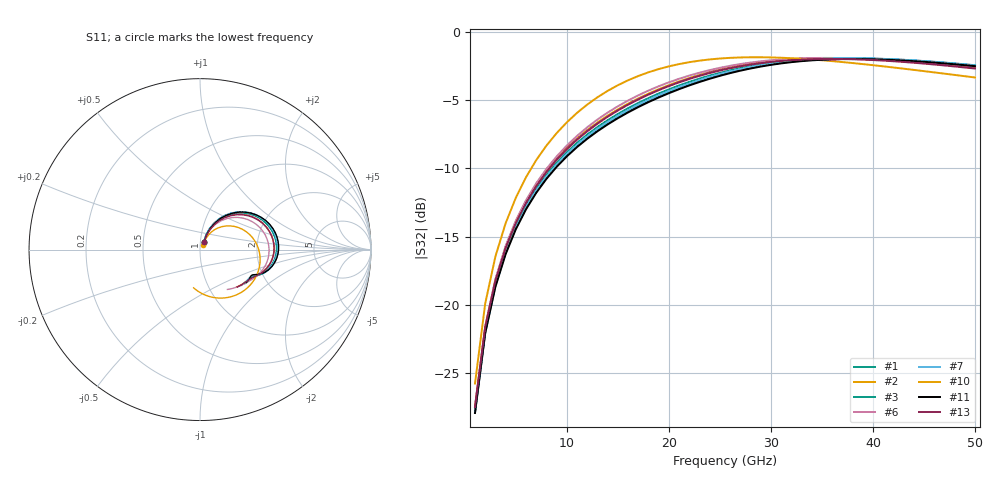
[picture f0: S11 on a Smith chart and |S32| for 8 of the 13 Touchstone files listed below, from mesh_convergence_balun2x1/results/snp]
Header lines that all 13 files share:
! Created with skrf 2.2.0 (http://scikit-rf.org).
# GHz S DB R 50.0
! Port[1] = P1
! Port[2] = P2
! Port[3] = P3
! Port[4] = P4
!freq dBS11 angS11 dBS12 angS12 dBS13 angS13
! dBS14 angS14
! dBS21 angS21 dBS22 angS22 dBS23 angS23
! dBS24 angS24
! dBS31 angS31 dBS32 angS32 dBS33 angS33
! dBS34 angS34
! dBS41 angS41 dBS42 angS42 dBS43 angS43
! dBS44 angS44
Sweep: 1 GHz to 50 GHz
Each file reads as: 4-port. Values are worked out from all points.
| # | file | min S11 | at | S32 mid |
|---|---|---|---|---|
| 1 | balun2x1_amr2_final.s4p | -26.0 dB | 1 GHz | -3.0 dB at 26 GHz |
| 2 | balun2x1_amr2_iter1.s4p | -26.4 dB | 1 GHz | -2.6 dB at 26 GHz |
| 3 | balun2x1_amr2_iter2.s4p | -26.2 dB | 1 GHz | -2.8 dB at 26 GHz |
| 4 | balun2x1_filled_mesh2.s4p | -25.8 dB | 1 GHz | -3.0 dB at 26 GHz |
| 5 | balun2x1_mesh1.s4p | -26.0 dB | 1 GHz | -3.0 dB at 26 GHz |
| 6 | balun2x1_mesh1_order1.s4p | -27.3 dB | 1 GHz | -2.5 dB at 26 GHz |
| 7 | balun2x1_mesh2.s4p | -26.1 dB | 1 GHz | -2.9 dB at 26 GHz |
| 8 | balun2x1_mesh2_order1.s4p | -27.9 dB | 1 GHz | -2.3 dB at 26 GHz |
| 9 | balun2x1_mesh5.s4p | -26.4 dB | 1 GHz | -2.6 dB at 26 GHz |
| 10 | balun2x1_mesh5_order1.s4p | -29.9 dB | 1 GHz | -1.9 dB at 26 GHz |
| 11 | balun2x1_skin_mesh1.s4p | -25.7 dB | 1 GHz | -3.0 dB at 26 GHz |
| 12 | balun2x1_skin_mesh2.s4p | -25.8 dB | 1 GHz | -2.9 dB at 26 GHz |
| 13 | balun2x1_skin_mesh5.s4p | -26.1 dB | 1 GHz | -2.7 dB at 26 GHz |
